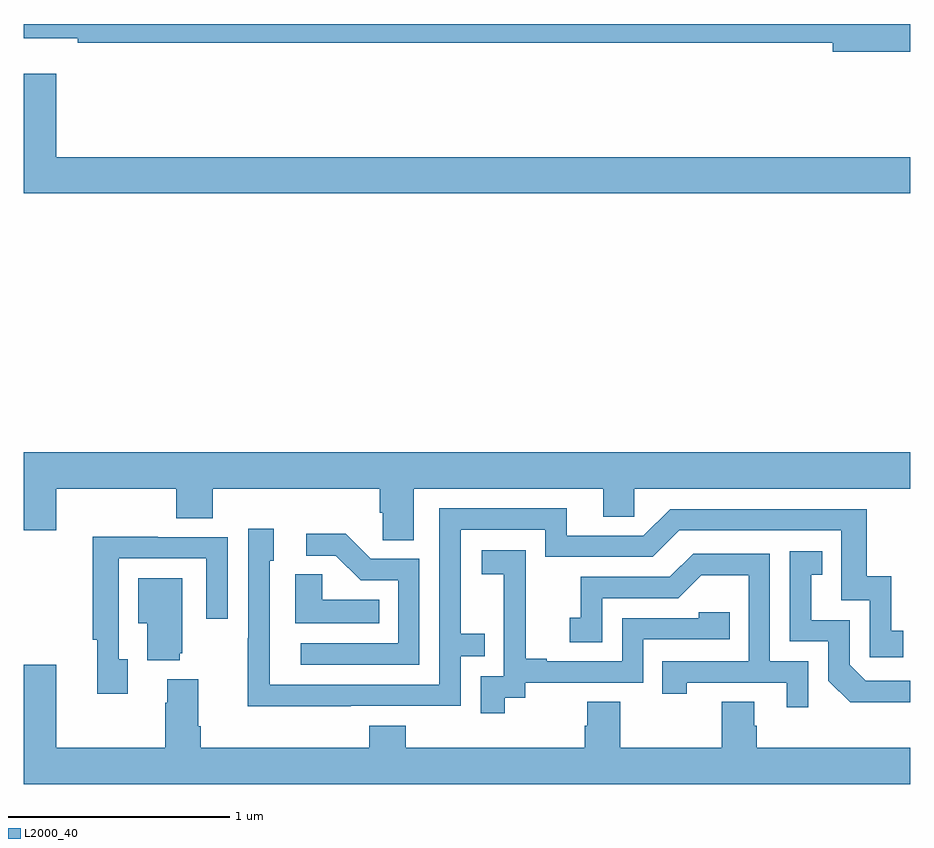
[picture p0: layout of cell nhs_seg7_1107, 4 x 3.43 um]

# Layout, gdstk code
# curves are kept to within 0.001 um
import gdstk
lib = gdstk.Library(unit=1e-6, precision=1e-09)
def P(c, l, *ps):  # polygons
    for p in ps: c.add(gdstk.Polygon(p, *l))
L2000_40 = (2000, 40)

nhs_seg7_1107 = lib.new_cell('nhs_seg7_1107')
P(nhs_seg7_1107, L2000_40, [(193,1048),(189,1048),(189,1047.935),(189.244,1047.935),(189.244,1047.916),(192.65,1047.916),(192.65,1047.874),(193,1047.874)],
  [(193,1047.4),(189.148,1047.4),(189.148,1047.775),(189,1047.775),(189,1047.236),(193,1047.236)],
  [(190.759,1045.904),(191.615,1045.904),(191.615,1045.777),(191.754,1045.777),(191.754,1045.904),(193,1045.904),(193,1046.068),(189,1046.068),(189,1045.716),(189.148,1045.716),(189.148,1045.904),(189.689,1045.904),(189.689,1045.771),(189.854,1045.771),(189.854,1045.904),(190.607,1045.904),(190.607,1045.795),(190.62,1045.795),(190.62,1045.672),(190.759,1045.672)],
  [(190.475,1044.924),(190.971,1044.924),(190.971,1045.149),(191.081,1045.149),(191.081,1045.25),(190.971,1045.25),(190.971,1045.719),(191.352,1045.719),(191.352,1045.596),(191.838,1045.596),(191.958,1045.716),(192.687,1045.716),(192.687,1045.401),(192.816,1045.401),(192.816,1045.143),(192.967,1045.143),(192.967,1045.263),(192.914,1045.263),(192.914,1045.51),(192.803,1045.51),(192.803,1045.812),(191.916,1045.812),(191.796,1045.692),(191.449,1045.692),(191.449,1045.815),(190.875,1045.815),(190.875,1045.02),(190.11,1045.02),(190.11,1045.578),(190.129,1045.578),(190.129,1045.723),(190.014,1045.723),(190.014,1045.229),(190.012,1045.229),(190.012,1044.923)],
  [(190.785,1045.587),(190.566,1045.587),(190.453,1045.7),(190.275,1045.7),(190.275,1045.602),(190.409,1045.602),(190.52,1045.491),(190.689,1045.491),(190.689,1045.206),(190.251,1045.206),(190.251,1045.11),(190.785,1045.11)],
  [(189.469,1045.134),(189.429,1045.134),(189.429,1045.59),(189.825,1045.59),(189.825,1045.317),(189.921,1045.317),(189.921,1045.686),(189.605,1045.686),(189.605,1045.688),(189.313,1045.688),(189.313,1045.222),(189.332,1045.222),(189.332,1044.978),(189.469,1044.978)],
  [(191.17,1044.961),(191.262,1044.961),(191.262,1045.029),(191.796,1045.029),(191.796,1045.224),(192.185,1045.224),(192.185,1045.347),(192.045,1045.347),(192.045,1045.32),(191.7,1045.32),(191.7,1045.125),(191.359,1045.125),(191.359,1045.138),(191.264,1045.138),(191.264,1045.421),(191.265,1045.421),(191.265,1045.627),(191.067,1045.627),(191.067,1045.517),(191.165,1045.517),(191.165,1045.289),(191.166,1045.289),(191.166,1045.059),(191.061,1045.059),(191.061,1044.891),(191.17,1044.891)],
  [(193,1045.038),(192.798,1045.038),(192.726,1045.11),(192.726,1045.311),(192.553,1045.311),(192.553,1045.515),(192.602,1045.515),(192.602,1045.621),(192.456,1045.621),(192.456,1045.215),(192.63,1045.215),(192.63,1045.038),(192.728,1044.941),(193,1044.941)],
  [(192.54,1045.125),(192.366,1045.125),(192.366,1045.611),(192.02,1045.611),(191.915,1045.506),(191.512,1045.506),(191.512,1045.321),(191.463,1045.321),(191.463,1045.212),(191.61,1045.212),(191.61,1045.41),(191.952,1045.41),(192.056,1045.514),(192.27,1045.514),(192.27,1045.125),(191.881,1045.125),(191.881,1044.978),(191.992,1044.978),(191.992,1045.029),(192.443,1045.029),(192.443,1044.918),(192.54,1044.918)],
  [(190.604,1045.402),(190.347,1045.402),(190.347,1045.517),(190.226,1045.517),(190.226,1045.298),(190.604,1045.298)],
  [(189.704,1045.161),(189.715,1045.161),(189.715,1045.501),(189.518,1045.501),(189.518,1045.298),(189.557,1045.298),(189.557,1045.13),(189.704,1045.13)],
  [(193,1044.736),(192.308,1044.736),(192.308,1044.834),(192.295,1044.834),(192.295,1044.944),(192.148,1044.944),(192.148,1044.736),(191.691,1044.736),(191.691,1044.944),(191.543,1044.944),(191.543,1044.834),(191.531,1044.834),(191.531,1044.736),(190.724,1044.736),(190.724,1044.835),(190.559,1044.835),(190.559,1044.736),(189.8,1044.736),(189.8,1044.832),(189.787,1044.832),(189.787,1045.045),(189.647,1045.045),(189.647,1044.938),(189.64,1044.938),(189.64,1044.736),(189.148,1044.736),(189.148,1045.111),(189,1045.111),(189,1044.572),(193,1044.572)])

lib.write_gds('nhs_seg7_1107.gds')
